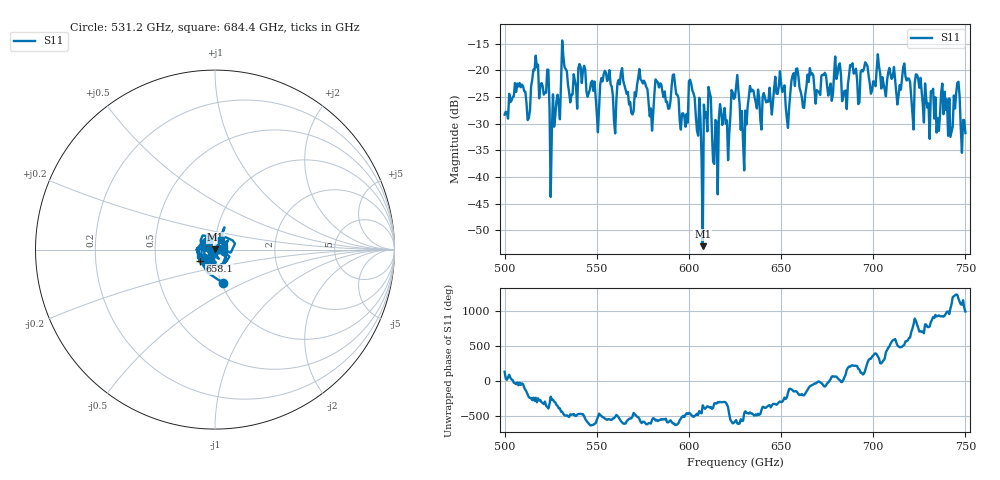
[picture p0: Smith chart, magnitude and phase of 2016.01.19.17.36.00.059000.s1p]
!Created with skrf (http://scikit-rf.org).
# GHz S RI R 50.0
!freq ReS11 ImS11
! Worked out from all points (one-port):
!   401 points, 500 GHz to 750 GHz, reference 50 ohm
!   lowest |S11| = -52.9 dB at 607.5 GHz (marker M1), VSWR 1.00, Z = 50.2 + j0.0598 ohm
!   |S11| at or under -10 dB: start of sweep to end of sweep
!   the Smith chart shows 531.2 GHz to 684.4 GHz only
!   S11 on the Smith chart (normalised r, x): 531.2 GHz: 1.02, -0.39; 658.1 GHz: 0.84, -0.11; 684.4 GHz: 1.07, +0.11
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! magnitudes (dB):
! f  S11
! 500 GHz  -28.3
! 513.1 GHz  -29.0
! 516.9 GHz  -17.3
! 526.2 GHz  -24.5
! 531.2 GHz  -14.4
! 550.6 GHz  -31.6
! 562.5 GHz  -22.6
! 568.8 GHz  -28.0
! 573.1 GHz  -19.8
! 579.4 GHz  -27.1
! 593.8 GHz  -24.6
! 598.1 GHz  -30.6
! 601.2 GHz  -22.5
! 607.5 GHz  -52.9
! 610.6 GHz  -23.1
! 614.4 GHz  -29.3
! 625 GHz  -25.0
! 629.4 GHz  -33.5
! 633.8 GHz  -23.9
! 653.8 GHz  -30.8
! 656.2 GHz  -20.9
! 658.1 GHz  -19.8
! 684.4 GHz  -23.9
! 687.5 GHz  -19.0
! 718.8 GHz  -21.5
! 741.9 GHz  -32.5
! 745.6 GHz  -22.3
! 750 GHz  -31.8
